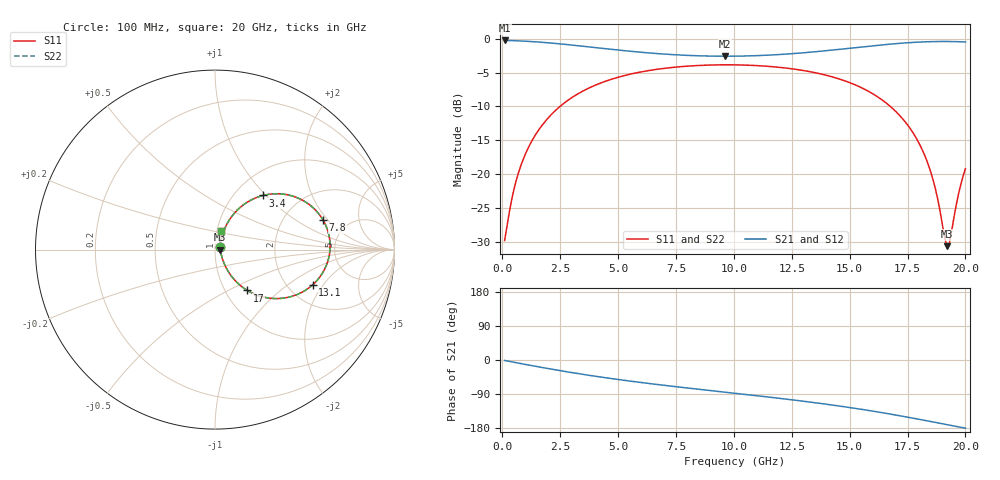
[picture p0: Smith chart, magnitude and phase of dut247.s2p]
! Touchstone file exported from HFSS 2026.1.0
!  File:  C:/ffzhzh/LocalFiles/Ansys_Project_Files/temp_train_TSV_RDL_247_1783067291_36532.aedt
!  Generated:  04:37:45 PM Jul  3, 2026
!  Design:  TSV_RDL
!  Project:  temp_train_TSV_RDL_247_1783067291_36532
! Variables:
!  h_bsmrdl = 5.97um
!  h_ox = 20um
!  h_rdl = 5um
!  h_sub = 79.91um
!  h_tmrdl = 2.29um
!  h_tsv = 79.91um
!  h_via = 3um
!  l_bsmrdl = 105.73um
!  l_sub = 2785.68um
!  l_tmrdl = 497.99um
!  m_sub = 200um
!  pitch = 54.03um
!  r_tsv = 9.89um
!  s_tmrdl = 10um
!  w_bsmrdl = 14.2um
!  w_sub = 500um
!  w_tmrdl = 11.31um
!  x_tsv_center1 = 503.645um
!  x_tsv_center2 = 623.575um
!  x_tsv_center3 = 1132.875um
!  x_tsv_center4 = 1252.805um
!  x_tsv_center5 = 1762.105um
!  x_tsv_center6 = 1882.035um
# GHz S MA R 50.000000
! Terminal data exported
! Port[1] = TM_RDL1_1_T1
! Port[2] = TM_RDL5_1_T1
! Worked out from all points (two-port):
!   200 points, 100 MHz to 20 GHz, reference 50 ohm
!   highest |S21| = -0.26 dB at 100 MHz (marker M1); lowest = -2.6 dB at 9.6 GHz (marker M2)
!   |S21| within 3 dB of the highest: start of sweep to end of sweep
!   lowest |S11| = -30.6 dB at 19.2 GHz (marker M3), VSWR 1.06, Z = 53 - j0.00905 ohm
!   |S11| at or under -10 dB: start of sweep to 2.491 GHz; 16.76 GHz to end of sweep
!   |S22| runs from -30.6 to -3.9 dB; largest |S21 - S12| = 3.6e-14
!   S11 on the Smith chart (normalised r, x): 100 MHz: 1.06, +0.03; 3.4 GHz: 1.34, +0.96; 7.8 GHz: 3.28, +1.78; 13.1 GHz: 2.71, -1.59; 17 GHz: 1.26, -0.63; 20 GHz: 1.04, +0.22
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0.1  0.0324 25.1  0.9708 -1.2  0.9708 -1.2  0.0324 25.1
! Gamma 0 0 0 0
! Port Impedance 50 0 50 0
0.6  0.08971 62.9  0.9658 -7.1  0.9658 -7.1  0.08971 62.9
1.2  0.1664 64.8  0.9542 -14.0  0.9542 -14.0  0.1664 64.8
2.1  0.2737 59.2  0.9293 -23.9  0.9293 -23.9  0.2737 59.2
3.4  0.4038 48.4  0.8831 -37.1  0.8831 -37.1  0.4038 48.4
3.5  0.4125 47.5  0.8794 -38.1  0.8794 -38.1  0.4125 47.5
6.8  0.5985 22.2  0.7742 -65.5  0.7742 -65.5  0.5985 22.2
7.8  0.6238 15.4  0.756 -72.6  0.756 -72.6  0.6238 15.4
9.6  0.6419 3.7  0.7427 -84.8  0.7427 -84.8  0.6419 3.7
10.1  0.641 0.5  0.7436 -88.2  0.7436 -88.2  0.641 0.5
13.1  0.5788 -19.8  0.7897 -109.5  0.7897 -109.5  0.5788 -19.8
13.4  0.5663 -22.0  0.798 -111.9  0.798 -111.9  0.5662 -22.0
15.3  0.4519 -37.1  0.861 -128.2  0.861 -128.2  0.4518 -37.1
16.7  0.3227 -49.1  0.9104 -142.1  0.9104 -142.1  0.3226 -49.1
17  0.2898 -51.7  0.9198 -145.3  0.9198 -145.3  0.2898 -51.7
17.7  0.2068 -56.9  0.9383 -153.1  0.9383 -153.1  0.2068 -56.9
18.3  0.1303 -58.8  0.9491 -159.9  0.9491 -159.9  0.1303 -58.8
18.7  0.07863 -54.5  0.9531 -164.6  0.9531 -164.6  0.0786 -54.5
19.2  0.02944 -0.2  0.9541 -170.5  0.9541 -170.5  0.02946 -0.1
19.3  0.03071 25.2  0.9537 -171.7  0.9537 -171.7  0.03074 25.3
19.7  0.0711 68.0  0.9505 -176.4  0.9505 -176.4  0.07114 68.0
20  0.1097 73.4  0.9463 -179.9  0.9463 -179.9  0.1097 73.4
